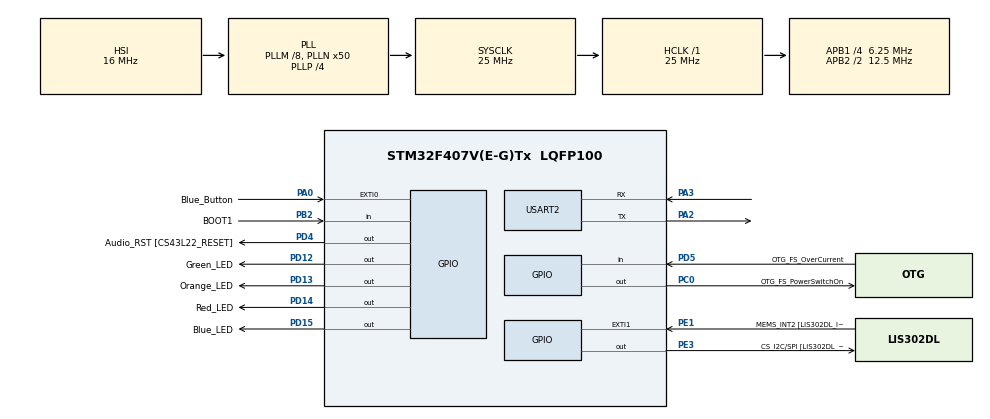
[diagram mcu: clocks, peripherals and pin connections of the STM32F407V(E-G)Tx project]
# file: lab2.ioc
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Mcu.Family=STM32F4
Mcu.Name=STM32F407V(E-G)Tx
Mcu.Package=LQFP100
NVIC.PriorityGroup=NVIC_PRIORITYGROUP_4
NVIC.TIM7_IRQn=true\:0\:0\:false\:false\:true\:false\:true\:true
NVIC.TimeBase=TIM7_IRQn
NVIC.TimeBaseIP=TIM7
PA0-WKUP.GPIO_Label=Blue_Button
PA0-WKUP.Signal=GPXTI0
PA10.GPIO_Label=OTG_FS_ID
PA10.GPIO_Mode=GPIO_MODE_AF_PP
PA10.GPIO_PuPd=GPIO_NOPULL
PA10.GPIO_Speed=GPIO_SPEED_FREQ_LOW
PA10.Signal=USB_OTG_FS_ID
PA11.GPIO_Label=OTG_FS_DM
PA11.GPIO_Mode=GPIO_MODE_AF_PP
PA11.GPIO_PuPd=GPIO_NOPULL
PA11.GPIO_Speed=GPIO_SPEED_FREQ_LOW
PA11.Signal=USB_OTG_FS_DM
PA12.GPIO_Label=OTG_FS_DP
PA12.GPIO_Mode=GPIO_MODE_AF_PP
PA12.GPIO_PuPd=GPIO_NOPULL
PA12.GPIO_Speed=GPIO_SPEED_FREQ_LOW
PA12.Signal=USB_OTG_FS_DP
PA13.GPIO_Label=SWDIO
PA13.Mode=Serial_Wire
PA13.Signal=SYS_JTMS-SWDIO
PA14.GPIO_Label=SWCLK
PA14.Mode=Serial_Wire
PA14.Signal=SYS_JTCK-SWCLK
PA2.Mode=Asynchronous
PA2.Signal=USART2_TX
PA3.Mode=Asynchronous
PA3.Signal=USART2_RX
PA4.GPIO_Label=I2S3_WS [CS43L22_LRCK]
PA4.GPIO_Mode=GPIO_MODE_AF_PP
PA4.GPIO_PuPd=GPIO_NOPULL
PA4.GPIO_Speed=GPIO_SPEED_FREQ_LOW
PA4.Signal=I2S3_WS
PA5.GPIO_Label=SPI1_SCK [LIS302DL_SCL/SPC]
PA5.GPIO_Mode=GPIO_MODE_AF_PP
PA5.GPIO_PuPd=GPIO_NOPULL
PA5.GPIO_Speed=GPIO_SPEED_FREQ_LOW
PA5.Signal=SPI1_SCK
PA6.GPIO_Label=SPI1_MISO [LIS302DL_SDO]
PA6.GPIO_Mode=GPIO_MODE_AF_PP
PA6.GPIO_PuPd=GPIO_NOPULL
PA6.GPIO_Speed=GPIO_SPEED_FREQ_LOW
PA6.Signal=SPI1_MISO
PA7.GPIO_Label=SPI1_MOSI [LIS302DL_SDA/SDI/SDO]
PA7.GPIO_Mode=GPIO_MODE_AF_PP
PA7.GPIO_PuPd=GPIO_NOPULL
PA7.GPIO_Speed=GPIO_SPEED_FREQ_LOW
PA7.Signal=SPI1_MOSI
PA9.GPIO_Label=VBUS_FS
PA9.GPIO_Mode=GPIO_MODE_INPUT
PA9.GPIO_PuPd=GPIO_NOPULL
PA9.Signal=USB_OTG_FS_VBUS
PB10.GPIO_Label=CLK_IN [MP45DT02_CLK]
PB10.GPIO_Mode=GPIO_MODE_AF_PP
PB10.GPIO_PuPd=GPIO_NOPULL
PB10.GPIO_Speed=GPIO_SPEED_FREQ_LOW
PB10.Signal=I2S2_CK
PB2.GPIO_Label=BOOT1
PB2.GPIO_Mode=GPIO_MODE_INPUT
PB2.GPIO_PuPd=GPIO_NOPULL
PB2.Signal=GPIO_Input
PB3.GPIO_Label=SWO
PB3.Signal=SYS_JTDO-SWO
PB6.GPIO_Label=Audio_SCL [CS43L22_SCL]
PB6.GPIO_Mode=GPIO_MODE_AF_OD
PB6.GPIO_PuPd=GPIO_NOPULL
PB6.GPIO_Speed=GPIO_SPEED_FREQ_LOW
PB6.Signal=I2C1_SCL
PB9.GPIO_Label=Audio_SDA [CS43L22_SDA]
PB9.GPIO_Mode=GPIO_MODE_AF_OD
PB9.GPIO_PuPd=GPIO_NOPULL
PB9.GPIO_Speed=GPIO_SPEED_FREQ_LOW
PB9.Signal=I2C1_SDA
PC0.GPIO_Label=OTG_FS_PowerSwitchOn
PC0.GPIO_PuPd=GPIO_NOPULL
PC0.GPIO_Speed=GPIO_SPEED_FREQ_LOW
PC0.PinState=GPIO_PIN_SET
PC0.Signal=GPIO_Output
PC10.GPIO_Label=I2S3_SCK [CS43L22_SCLK]
PC10.GPIO_Mode=GPIO_MODE_AF_PP
PC10.GPIO_PuPd=GPIO_NOPULL
PC10.GPIO_Speed=GPIO_SPEED_FREQ_LOW
PC10.Signal=I2S3_CK
PC12.GPIO_Label=I2S3_SD [CS43L22_SDIN]
PC12.GPIO_Mode=GPIO_MODE_AF_PP
PC12.GPIO_PuPd=GPIO_NOPULL
PC12.GPIO_Speed=GPIO_SPEED_FREQ_LOW
PC12.Signal=I2S3_SD
PC14-OSC32_IN.GPIO_Label=PC14-OSC32_IN
PC14-OSC32_IN.Signal=RCC_OSC32_IN
PC15-OSC32_OUT.GPIO_Label=PC15-OSC32_OUT
PC15-OSC32_OUT.Signal=RCC_OSC32_OUT
PC3.GPIO_Label=PDM_OUT [MP45DT02_DOUT]
PC3.GPIO_Mode=GPIO_MODE_AF_PP
PC3.GPIO_PuPd=GPIO_NOPULL
PC3.GPIO_Speed=GPIO_SPEED_FREQ_LOW
PC3.Signal=I2S2_SD
PC7.GPIO_Label=I2S3_MCK [CS43L22_MCLK]
PC7.GPIO_Mode=GPIO_MODE_AF_PP
PC7.GPIO_PuPd=GPIO_NOPULL
PC7.GPIO_Speed=GPIO_SPEED_FREQ_LOW
PC7.Signal=I2S3_MCK
PD12.GPIO_Label=Green_LED
PD12.GPIO_PuPd=GPIO_NOPULL
PD12.GPIO_Speed=GPIO_SPEED_FREQ_LOW
PD12.Signal=GPIO_Output
PD13.GPIO_Label=Orange_LED
PD13.GPIO_PuPd=GPIO_NOPULL
PD13.GPIO_Speed=GPIO_SPEED_FREQ_LOW
PD13.Signal=GPIO_Output
PD14.GPIO_Label=Red_LED
PD14.GPIO_PuPd=GPIO_NOPULL
PD14.GPIO_Speed=GPIO_SPEED_FREQ_LOW
PD14.Signal=GPIO_Output
PD15.GPIO_Label=Blue_LED
PD15.GPIO_PuPd=GPIO_NOPULL
PD15.GPIO_Speed=GPIO_SPEED_FREQ_LOW
PD15.Signal=GPIO_Output
PD4.GPIO_Label=Audio_RST [CS43L22_RESET]
PD4.GPIO_PuPd=GPIO_NOPULL
PD4.GPIO_Speed=GPIO_SPEED_FREQ_LOW
PD4.Signal=GPIO_Output
PD5.GPIO_Label=OTG_FS_OverCurrent
PD5.GPIO_Mode=GPIO_MODE_INPUT
PD5.GPIO_PuPd=GPIO_NOPULL
PD5.Signal=GPIO_Input
PE1.GPIO_Label=MEMS_INT2 [LIS302DL_INT2]
PE1.GPIO_ModeDefaultEXTI=GPIO_MODE_EVT_RISING
PE1.GPIO_PuPd=GPIO_NOPULL
PE1.Signal=GPXTI1
PE3.GPIO_Label=CS_I2C/SPI [LIS302DL_CS_I2C/SPI]
PE3.GPIO_PuPd=GPIO_NOPULL
PE3.GPIO_Speed=GPIO_SPEED_FREQ_LOW
PE3.Signal=GPIO_Output
PH0-OSC_IN.GPIO_Label=PH0-OSC_IN
PH0-OSC_IN.Signal=RCC_OSC_IN
PH1-OSC_OUT.GPIO_Label=PH1-OSC_OUT
PH1-OSC_OUT.Signal=RCC_OSC_OUT
ProjectManager.HeapSize=0x200
ProjectManager.StackSize=0x400
ProjectManager.TargetToolchain=STM32CubeIDE
RCC.48MHZClocksFreq_Value=14285714.285714285
RCC.AHBFreq_Value=25000000
RCC.APB1CLKDivider=RCC_HCLK_DIV4
RCC.APB1Freq_Value=6250000
RCC.APB1TimFreq_Value=12500000
RCC.APB2CLKDivider=RCC_HCLK_DIV2
RCC.APB2Freq_Value=12500000
RCC.APB2TimFreq_Value=25000000
RCC.CortexFreq_Value=25000000
RCC.HCLKFreq_Value=25000000
RCC.HSE_VALUE=8000000
RCC.HSI_VALUE=16000000
RCC.LSE_VALUE=32768
RCC.PLLM=8
RCC.PLLN=50
RCC.PLLP=RCC_PLLP_DIV4
RCC.PLLQ=7
RCC.SYSCLKFreq_VALUE=25000000
RCC.SYSCLKSource=RCC_SYSCLKSOURCE_PLLCLK
RCC.VCOOutputFreq_Value=100000000
USART2.VirtualMode=VM_ASYNC
VP_SYS_VS_tim7.Mode=TIM7
board=STM32F407G-DISC1

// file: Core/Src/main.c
/* USER CODE BEGIN Header */
/**
  ******************************************************************************
  * @file           : main.c
  * @brief          : Main program body
  ******************************************************************************
  * @attention
  *
  * Copyright (c) 2023 STMicroelectronics.
  * All rights reserved.
  *
  * This software is licensed under terms that can be found in the LICENSE file
  * in the root directory of this software component.
  * If no LICENSE file comes with this software, it is provided AS-IS.
  *
  ******************************************************************************
  */
/* USER CODE END Header */
#include "main.h"

/* USER CODE BEGIN Includes */
#include "FreeRTOS.h"
#include "task.h"
/* USER CODE END Includes */

UART_HandleTypeDef huart2;

void SystemClock_Config(void);
static void MX_GPIO_Init(void);
static void MX_USART2_UART_Init(void);
/* USER CODE BEGIN PFP */
void TaskMonitor_App(void *pvParameters);
void Red_LED_App(void *pvParameters);
void Green_LED_App(void *pvParameters);
void Delay_App(void *pvParameters);
/* USER CODE END PFP */

int main(void)
{

  /* MCU Configuration--------------------------------------------------------*/

  /* Reset of all peripherals, Initializes the Flash interface and the Systick. */
  HAL_Init();

  /* Configure the system clock */
  SystemClock_Config();

  /* Initialize all configured peripherals */
  MX_GPIO_Init();
  MX_USART2_UART_Init();
  /* USER CODE BEGIN 2 */
  xTaskCreate(Red_LED_App, "Red_LED", 1000, NULL, 1,  NULL);
  xTaskCreate(Green_LED_App, "Green_LED", 1000, NULL, 1,  NULL);
  xTaskCreate(Delay_App, "Delay", 1000, NULL, 14,  NULL);
  xTaskCreate(TaskMonitor_App, "TaskMonitor", 1000, NULL, 3,  NULL);
  vTaskStartScheduler();
  /* USER CODE END 2 */

  /* Infinite loop */
  while (1)
  {

  }
}

void SystemClock_Config(void)
{
  RCC_OscInitTypeDef RCC_OscInitStruct = {0};
  RCC_ClkInitTypeDef RCC_ClkInitStruct = {0};

  /** Configure the main internal regulator output voltage
  */
  __HAL_RCC_PWR_CLK_ENABLE();
  __HAL_PWR_VOLTAGESCALING_CONFIG(PWR_REGULATOR_VOLTAGE_SCALE1);

  /** Initializes the RCC Oscillators according to the specified parameters
  * in the RCC_OscInitTypeDef structure.
  */
  RCC_OscInitStruct.OscillatorType = RCC_OSCILLATORTYPE_HSI;
  RCC_OscInitStruct.HSIState = RCC_HSI_ON;
  RCC_OscInitStruct.HSICalibrationValue = RCC_HSICALIBRATION_DEFAULT;
  RCC_OscInitStruct.PLL.PLLState = RCC_PLL_ON;
  RCC_OscInitStruct.PLL.PLLSource = RCC_PLLSOURCE_HSI;
  RCC_OscInitStruct.PLL.PLLM = 8;
  RCC_OscInitStruct.PLL.PLLN = 50;
  RCC_OscInitStruct.PLL.PLLP = RCC_PLLP_DIV4;
  RCC_OscInitStruct.PLL.PLLQ = 7;
  if (HAL_RCC_OscConfig(&RCC_OscInitStruct) != HAL_OK)
  {
    Error_Handler();
  }

  /** Initializes the CPU, AHB and APB buses clocks
  */
  RCC_ClkInitStruct.ClockType = RCC_CLOCKTYPE_HCLK|RCC_CLOCKTYPE_SYSCLK
                              |RCC_CLOCKTYPE_PCLK1|RCC_CLOCKTYPE_PCLK2;
  RCC_ClkInitStruct.SYSCLKSource = RCC_SYSCLKSOURCE_PLLCLK;
  RCC_ClkInitStruct.AHBCLKDivider = RCC_SYSCLK_DIV1;
  RCC_ClkInitStruct.APB1CLKDivider = RCC_HCLK_DIV4;
  RCC_ClkInitStruct.APB2CLKDivider = RCC_HCLK_DIV2;

  if (HAL_RCC_ClockConfig(&RCC_ClkInitStruct, FLASH_LATENCY_0) != HAL_OK)
  {
    Error_Handler();
  }
}

static void MX_USART2_UART_Init(void)
{

  huart2.Instance = USART2;
  huart2.Init.BaudRate = 115200;
  huart2.Init.WordLength = UART_WORDLENGTH_8B;
  huart2.Init.StopBits = UART_STOPBITS_1;
  huart2.Init.Parity = UART_PARITY_NONE;
  huart2.Init.Mode = UART_MODE_TX_RX;
  huart2.Init.HwFlowCtl = UART_HWCONTROL_NONE;
  huart2.Init.OverSampling = UART_OVERSAMPLING_16;
  if (HAL_UART_Init(&huart2) != HAL_OK)
  {
    Error_Handler();
  }

}

static void MX_GPIO_Init(void)
{
  GPIO_InitTypeDef GPIO_InitStruct = {0};

  /* GPIO Ports Clock Enable */
  __HAL_RCC_GPIOE_CLK_ENABLE();
  __HAL_RCC_GPIOC_CLK_ENABLE();
  __HAL_RCC_GPIOH_CLK_ENABLE();
  __HAL_RCC_GPIOA_CLK_ENABLE();
  __HAL_RCC_GPIOB_CLK_ENABLE();
  __HAL_RCC_GPIOD_CLK_ENABLE();

  /*Configure GPIO pin Output Level */
  HAL_GPIO_WritePin(CS_I2C_SPI_GPIO_Port, CS_I2C_SPI_Pin, GPIO_PIN_RESET);

  /*Configure GPIO pin Output Level */
  HAL_GPIO_WritePin(OTG_FS_PowerSwitchOn_GPIO_Port, OTG_FS_PowerSwitchOn_Pin, GPIO_PIN_SET);

  /*Configure GPIO pin Output Level */
  HAL_GPIO_WritePin(GPIOD, Green_LED_Pin|Orange_LED_Pin|Red_LED_Pin|Blue_LED_Pin
                          |Audio_RST_Pin, GPIO_PIN_RESET);

  /*Configure GPIO pin : CS_I2C_SPI_Pin */
  GPIO_InitStruct.Pin = CS_I2C_SPI_Pin;
  GPIO_InitStruct.Mode = GPIO_MODE_OUTPUT_PP;
  GPIO_InitStruct.Pull = GPIO_NOPULL;
  GPIO_InitStruct.Speed = GPIO_SPEED_FREQ_LOW;
  HAL_GPIO_Init(CS_I2C_SPI_GPIO_Port, &GPIO_InitStruct);

  /*Configure GPIO pin : OTG_FS_PowerSwitchOn_Pin */
  GPIO_InitStruct.Pin = OTG_FS_PowerSwitchOn_Pin;
  GPIO_InitStruct.Mode = GPIO_MODE_OUTPUT_PP;
  GPIO_InitStruct.Pull = GPIO_NOPULL;
  GPIO_InitStruct.Speed = GPIO_SPEED_FREQ_LOW;
  HAL_GPIO_Init(OTG_FS_PowerSwitchOn_GPIO_Port, &GPIO_InitStruct);

  /*Configure GPIO pin : PDM_OUT_Pin */
  GPIO_InitStruct.Pin = PDM_OUT_Pin;
  GPIO_InitStruct.Mode = GPIO_MODE_AF_PP;
  GPIO_InitStruct.Pull = GPIO_NOPULL;
  GPIO_InitStruct.Speed = GPIO_SPEED_FREQ_LOW;
  GPIO_InitStruct.Alternate = GPIO_AF5_SPI2;
  HAL_GPIO_Init(PDM_OUT_GPIO_Port, &GPIO_InitStruct);

  /*Configure GPIO pin : Blue_Button_Pin */
  GPIO_InitStruct.Pin = Blue_Button_Pin;
  GPIO_InitStruct.Mode = GPIO_MODE_IT_RISING;
  GPIO_InitStruct.Pull = GPIO_NOPULL;
  HAL_GPIO_Init(Blue_Button_GPIO_Port, &GPIO_InitStruct);

  /*Configure GPIO pin : I2S3_WS_Pin */
  GPIO_InitStruct.Pin = I2S3_WS_Pin;
  GPIO_InitStruct.Mode = GPIO_MODE_AF_PP;
  GPIO_InitStruct.Pull = GPIO_NOPULL;
  GPIO_InitStruct.Speed = GPIO_SPEED_FREQ_LOW;
  GPIO_InitStruct.Alternate = GPIO_AF6_SPI3;
  HAL_GPIO_Init(I2S3_WS_GPIO_Port, &GPIO_InitStruct);

  /*Configure GPIO pins : SPI1_SCK_Pin SPI1_MISO_Pin SPI1_MOSI_Pin */
  GPIO_InitStruct.Pin = SPI1_SCK_Pin|SPI1_MISO_Pin|SPI1_MOSI_Pin;
  GPIO_InitStruct.Mode = GPIO_MODE_AF_PP;
  GPIO_InitStruct.Pull = GPIO_NOPULL;
  GPIO_InitStruct.Speed = GPIO_SPEED_FREQ_LOW;
  GPIO_InitStruct.Alternate = GPIO_AF5_SPI1;
  HAL_GPIO_Init(GPIOA, &GPIO_InitStruct);

  /*Configure GPIO pin : BOOT1_Pin */
  GPIO_InitStruct.Pin = BOOT1_Pin;
  GPIO_InitStruct.Mode = GPIO_MODE_INPUT;
  GPIO_InitStruct.Pull = GPIO_NOPULL;
  HAL_GPIO_Init(BOOT1_GPIO_Port, &GPIO_InitStruct);

  /*Configure GPIO pin : CLK_IN_Pin */
  GPIO_InitStruct.Pin = CLK_IN_Pin;
  GPIO_InitStruct.Mode = GPIO_MODE_AF_PP;
  GPIO_InitStruct.Pull = GPIO_NOPULL;
  GPIO_InitStruct.Speed = GPIO_SPEED_FREQ_LOW;
  GPIO_InitStruct.Alternate = GPIO_AF5_SPI2;
  HAL_GPIO_Init(CLK_IN_GPIO_Port, &GPIO_InitStruct);

  /*Configure GPIO pins : Green_LED_Pin Orange_LED_Pin Red_LED_Pin Blue_LED_Pin
                           Audio_RST_Pin */
  GPIO_InitStruct.Pin = Green_LED_Pin|Orange_LED_Pin|Red_LED_Pin|Blue_LED_Pin
                          |Audio_RST_Pin;
  GPIO_InitStruct.Mode = GPIO_MODE_OUTPUT_PP;
  GPIO_InitStruct.Pull = GPIO_NOPULL;
  GPIO_InitStruct.Speed = GPIO_SPEED_FREQ_LOW;
  HAL_GPIO_Init(GPIOD, &GPIO_InitStruct);

  /*Configure GPIO pins : I2S3_MCK_Pin I2S3_SCK_Pin I2S3_SD_Pin */
  GPIO_InitStruct.Pin = I2S3_MCK_Pin|I2S3_SCK_Pin|I2S3_SD_Pin;
  GPIO_InitStruct.Mode = GPIO_MODE_AF_PP;
  GPIO_InitStruct.Pull = GPIO_NOPULL;
  GPIO_InitStruct.Speed = GPIO_SPEED_FREQ_LOW;
  GPIO_InitStruct.Alternate = GPIO_AF6_SPI3;
  HAL_GPIO_Init(GPIOC, &GPIO_InitStruct);

  /*Configure GPIO pin : VBUS_FS_Pin */
  GPIO_InitStruct.Pin = VBUS_FS_Pin;
  GPIO_InitStruct.Mode = GPIO_MODE_INPUT;
  GPIO_InitStruct.Pull = GPIO_NOPULL;
  HAL_GPIO_Init(VBUS_FS_GPIO_Port, &GPIO_InitStruct);

  /*Configure GPIO pins : OTG_FS_ID_Pin OTG_FS_DM_Pin OTG_FS_DP_Pin */
  GPIO_InitStruct.Pin = OTG_FS_ID_Pin|OTG_FS_DM_Pin|OTG_FS_DP_Pin;
  GPIO_InitStruct.Mode = GPIO_MODE_AF_PP;
  GPIO_InitStruct.Pull = GPIO_NOPULL;
  GPIO_InitStruct.Speed = GPIO_SPEED_FREQ_LOW;
  GPIO_InitStruct.Alternate = GPIO_AF10_OTG_FS;
  HAL_GPIO_Init(GPIOA, &GPIO_InitStruct);

  /*Configure GPIO pin : OTG_FS_OverCurrent_Pin */
  GPIO_InitStruct.Pin = OTG_FS_OverCurrent_Pin;
  GPIO_InitStruct.Mode = GPIO_MODE_INPUT;
  GPIO_InitStruct.Pull = GPIO_NOPULL;
  HAL_GPIO_Init(OTG_FS_OverCurrent_GPIO_Port, &GPIO_InitStruct);

  /*Configure GPIO pins : Audio_SCL_Pin Audio_SDA_Pin */
  GPIO_InitStruct.Pin = Audio_SCL_Pin|Audio_SDA_Pin;
  GPIO_InitStruct.Mode = GPIO_MODE_AF_OD;
  GPIO_InitStruct.Pull = GPIO_NOPULL;
  GPIO_InitStruct.Speed = GPIO_SPEED_FREQ_LOW;
  GPIO_InitStruct.Alternate = GPIO_AF4_I2C1;
  HAL_GPIO_Init(GPIOB, &GPIO_InitStruct);

  /*Configure GPIO pin : MEMS_INT2_Pin */
  GPIO_InitStruct.Pin = MEMS_INT2_Pin;
  GPIO_InitStruct.Mode = GPIO_MODE_EVT_RISING;
  GPIO_InitStruct.Pull = GPIO_NOPULL;
  HAL_GPIO_Init(MEMS_INT2_GPIO_Port, &GPIO_InitStruct);

}

/* USER CODE BEGIN 4 */
void TaskMonitor_App(void *pvParameters){
	for(;;){
		Taskmonitor();
		vTaskDelay(1000);
	}
}

void Red_LED_App(void *pvParameters){
	uint32_t Redtimer = 800;
	for(;;){
		HAL_GPIO_TogglePin(GPIOD,Red_LED_Pin);
		vTaskDelay(Redtimer);
		Redtimer+=1;
	}
}

void Green_LED_App(void *pvParameters){
	uint32_t Greentimer = 1000;
	for(;;){
		HAL_GPIO_TogglePin(GPIOD,Green_LED_Pin);
		vTaskDelay(Greentimer);
		Greentimer+=2;
	}
}

void Delay_App(void *pvParameters){
	int delayflag=0;
	uint32_t delaytime;
	while(1){
		if(delayflag==0){
			delaytime = 1000;
			delayflag=1;
		}else{
			delaytime=0xFFFFFFFF;
		}
		vTaskDelay(delaytime);
	}
}
/* USER CODE END 4 */

void HAL_TIM_PeriodElapsedCallback(TIM_HandleTypeDef *htim)
{
  if (htim->Instance == TIM7) {
    HAL_IncTick();
  }
}

void Error_Handler(void)
{
  __disable_irq();
  while (1)
  {
  }
}
